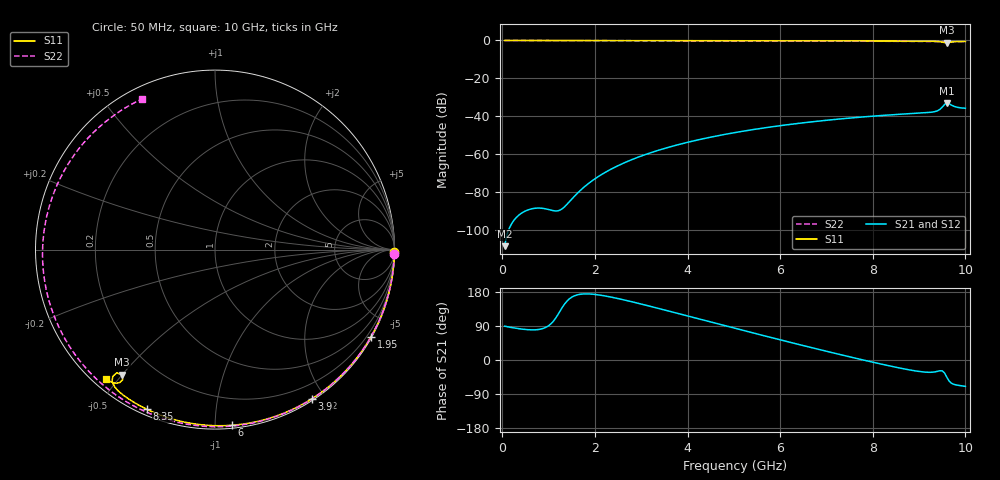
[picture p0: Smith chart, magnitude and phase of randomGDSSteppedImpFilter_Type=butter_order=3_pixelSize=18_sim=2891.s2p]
! freq	dB(S11)	phase(S11)	dB(S12)	phase(S12)
!  dB(S21)	phase(S21)	dB(S22)	phase(S22)
!S-par simulation data
#  GHz  S  DB  R 50
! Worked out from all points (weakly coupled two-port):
!   200 points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, 50 MHz to 10 GHz, reference 50 ohm
!   highest |S21| = -33.12 dB at 9.6 GHz (marker M1); lowest = -108.7 dB at 50 MHz (marker M2)
!   lowest |S11| = -1.2 dB at 9.6 GHz (marker M3), VSWR 14.15, Z = 4.42 - j25 ohm
!   |S11| at or under -10 dB: nowhere
!   |S22| runs from -0.6 to 0.0 dB; largest |S21 - S12| = 0
!   S11 on the Smith chart (normalised r, x): 50 MHz: open; 1.95 GHz: 0.03, -3.84; 3.9 GHz: 0.02, -1.85; 6 GHz: 0.02, -1.10; 8.35 GHz: 0.02, -0.66; 10 GHz: 0.04, -0.46
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0.05  -0.00 -0.8  -108.72 89.2  -108.72 89.2  -0.00 -1.5
0.8  -0.02 -12.1  -88.59 80.8  -88.59 80.8  -0.03 -23.3
1.65  -0.03 -24.8  -80.06 172.8  -80.06 172.8  -0.06 -47.2
1.75  -0.03 -26.2  -77.83 174.3  -77.83 174.3  -0.06 -50.0
1.95  -0.04 -29.2  -73.98 173.7  -73.98 173.7  -0.07 -55.4
2.25  -0.04 -33.6  -69.33 168.3  -69.33 168.3  -0.08 -63.4
2.6  -0.05 -38.6  -65.04 159.4  -65.04 159.4  -0.09 -72.6
3  -0.06 -44.3  -61.08 147.6  -61.08 147.6  -0.10 -82.8
3.4  -0.07 -50.0  -57.82 135.3  -57.82 135.3  -0.12 -92.7
3.9  -0.08 -56.9  -54.44 119.4  -54.44 119.4  -0.14 -104.7
4.45  -0.09 -64.4  -51.36 101.9  -51.36 101.9  -0.16 -117.4
5.05  -0.11 -72.3  -48.57 82.9  -48.57 82.9  -0.19 -130.9
6  -0.15 -84.5  -45.04 53.3  -45.04 53.3  -0.25 -151.7
6.7  -0.18 -93.3  -42.96 32.0  -42.96 32.0  -0.30 -166.9
7.55  -0.23 -103.6  -40.91 6.9  -40.91 6.9  -0.37 174.5
8.35  -0.29 -113.1  -39.39 -15.3  -39.39 -15.3  -0.45 156.4
9.3  -0.44 -125.3  -37.80 -32.0  -37.80 -32.0  -0.54 133.7
9.45  -0.65 -128.1  -36.41 -28.4  -36.41 -28.4  -0.56 129.9
9.55  -1.13 -128.6  -33.83 -34.3  -33.83 -34.3  -0.57 127.5
9.6  -1.23 -126.6  -33.12 -45.7  -33.12 -45.7  -0.57 126.2
9.75  -0.67 -126.4  -34.76 -64.2  -34.76 -64.2  -0.59 122.4
10  -0.51 -130.3  -35.83 -69.7  -35.83 -69.7  -0.61 115.9
